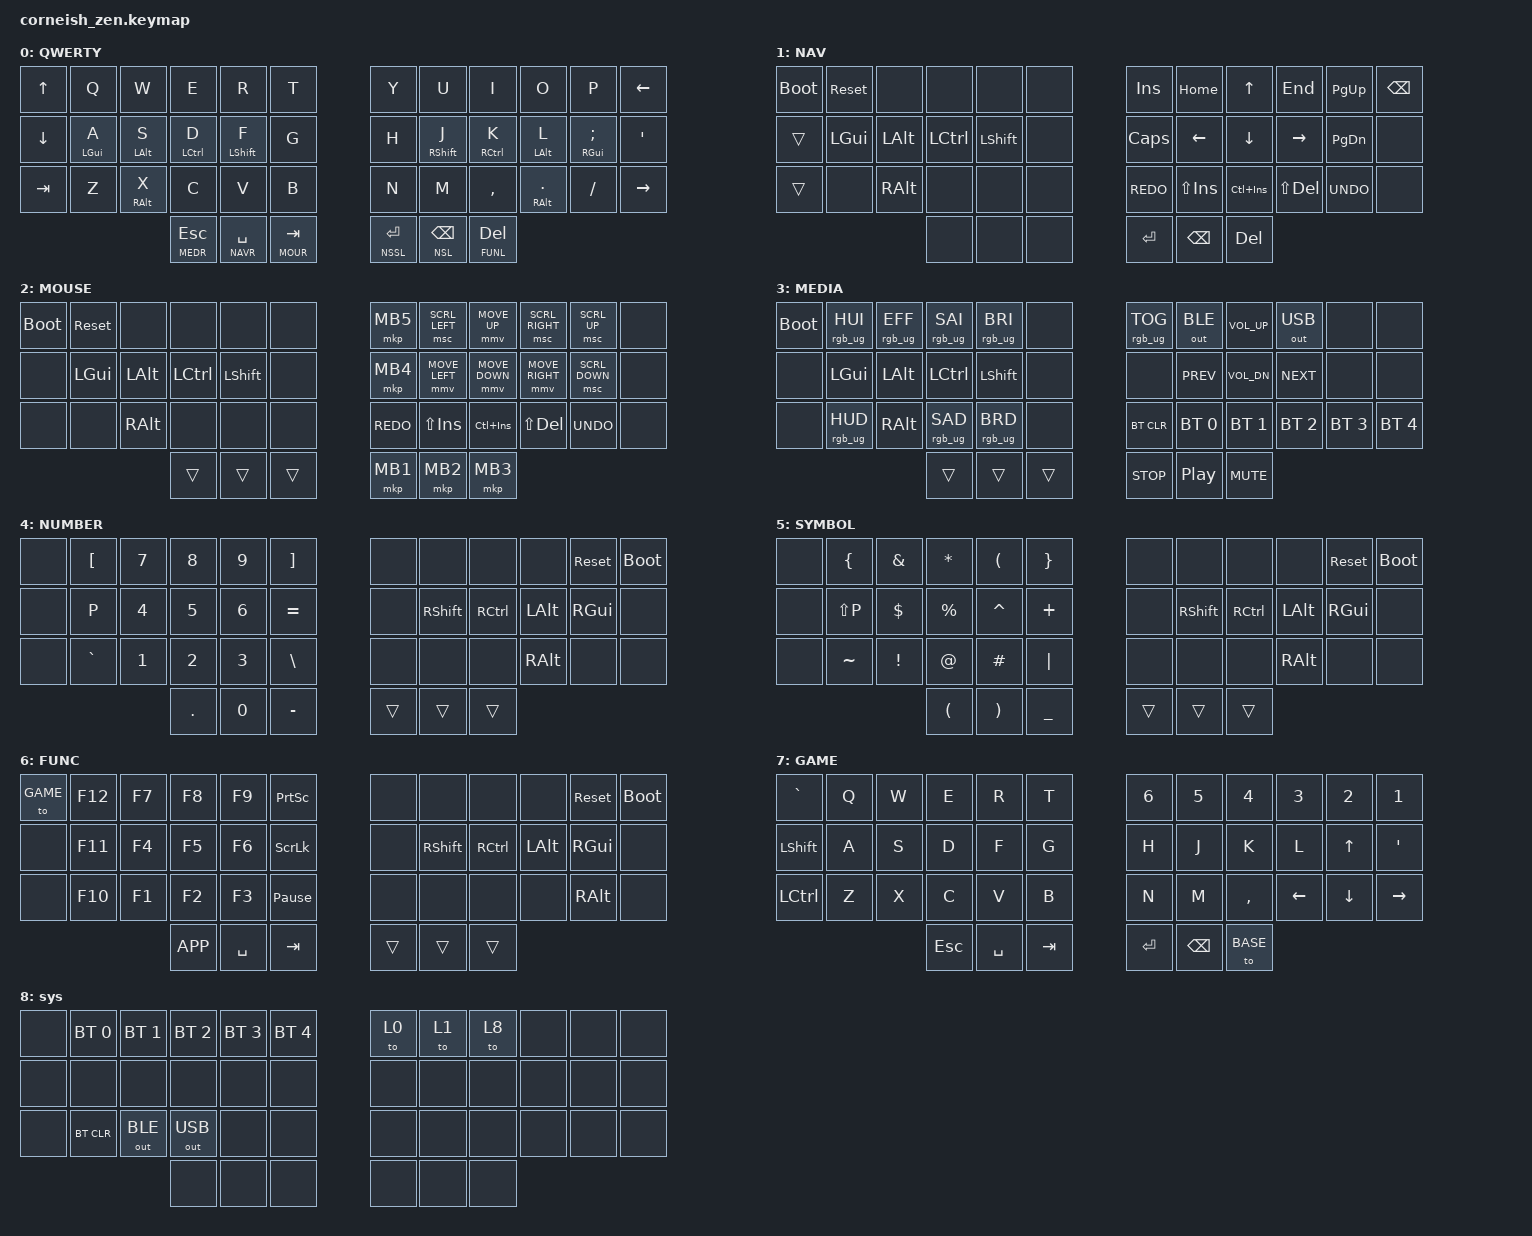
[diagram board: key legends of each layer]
/*
 * Copyright (c) 2020 The ZMK Contributors
 *
 * SPDX-License-Identifier: MIT
 */

#include <behaviors.dtsi>
#include <dt-bindings/zmk/bt.h>
// #include <dt-bindings/zmk/ext_power.h>
#include <dt-bindings/zmk/keys.h>
#include <dt-bindings/zmk/outputs.h>
#include <dt-bindings/zmk/rgb.h>
#include <dt-bindings/zmk/pointing.h>
#define BASE 0
#define NAVR 1
#define MOUR 2
#define MEDR 3
#define NSL 4
#define NSSL 5
#define FUNL 6
#define GAME 7
#define SYS 8

#define XXX &none
#define ___ &trans
/ {
    chosen {
        zmk,matrix_transform = &default_transform;

        // zmk,matrix_transform = &five_column_transform;
    };
};

/ {
    behaviors {
        td0: td0 {
            compatible = "zmk,behavior-tap-dance";
            label = "TD0";
            #binding-cells = <0>;
            bindings = <&kp LEFT_SHIFT>, <&kp CAPS>;
        };
	hm: homerow_mods {
            compatible = "zmk,behavior-hold-tap";
            #binding-cells = <2>;
            tapping-term-ms = <200>;
            quick-tap-ms = <200>;
            flavor = "tap-preferred";
            bindings = <&kp>, <&kp>;
        };
    };

    keymap {
        compatible = "zmk,keymap";

        default_layer {
            display-name = "QWERTY";

            // --------------------------------------------------------------------------------
            // |  TAB |  Q  |  W  |  E  |  R  |  T  |   |  Y  |  U   |  I  |  O  |  P  | BKSP |
            // | CTRL |  A  |  S  |  D  |  F  |  G  |   |  H  |  J   |  K  |  L  |  ;  |  '   | 
            // | SHFT |  Z  |  X  |  C  |  V  |  B  |   |  N  |  M   |  ,  |  .  |  /  | ESC  |
            //                    | GUI | LWR | SPC |   | ENT | RSE  | ALT |

            bindings = <
//╭─────────────┬─────────────┬─────────────┬─────────────┬─────────────┬─────────────╮ ╭─────────────┬─────────────┬─────────────┬─────────────┬─────────────┬─────────────╮
    &kp UP        &kp Q         &kp W         &kp E         &kp R         &kp T           &kp Y         &kp U         &kp I         &kp O         &kp P       &kp LEFT
//├─────────────┼─────────────┼─────────────┼─────────────┼─────────────┼─────────────┤ ├─────────────┼─────────────┼─────────────┼─────────────┼─────────────┼─────────────┤
    &kp DOWN      &hm LGUI A    &hm LALT S    &hm LCTRL D   &hm LSHIFT F  &kp G           &kp H         &hm RSHIFT J  &hm RCTRL K   &hm LALT L    &hm RGUI SEMI &kp SQT
//├─────────────┼─────────────┼─────────────┼─────────────┼─────────────┼─────────────┤ ├─────────────┼─────────────┼─────────────┼─────────────┼─────────────┼─────────────┤
    &kp TAB      &kp Z         &hm RALT X    &kp C         &kp V         &kp B           &kp N         &kp M         &kp COMMA     &hm RALT DOT  &kp FSLH      &kp RIGHT
//╰─────────────┼─────────────┼─────────────┼─────────────┼─────────────┼─────────────┤ ├─────────────┼─────────────┼─────────────┼─────────────┼─────────────┼─────────────╯
                                              &lt MEDR ESC  &lt NAVR SPACE &lt MOUR TAB   &lt NSSL ENTER &lt NSL BSPC &lt FUNL DEL
//                                          ╰─────────────┴─────────────┴─────────────╯ ╰─────────────┴─────────────┴─────────────╯                            
            >;
        };

        navigate {
            display-name = "NAV";

            bindings = <
//╭─────────────┬─────────────┬─────────────┬─────────────┬─────────────┬─────────────╮ ╭─────────────┬─────────────┬─────────────┬─────────────┬─────────────┬─────────────╮
    &bootloader   &sys_reset    XXX           XXX           XXX           XXX             &kp INS       &kp HOME      &kp UP        &kp END       &kp PG_UP     &kp BSPC
//├─────────────┼─────────────┼─────────────┼─────────────┼─────────────┼─────────────┤ ├─────────────┼─────────────┼─────────────┼─────────────┼─────────────┼─────────────┤
    &trans        &kp LGUI      &kp LALT      &kp LCTRL     &kp LSHIFT    XXX             &kp CAPS      &kp LEFT      &kp DOWN      &kp RIGHT     &kp PG_DN     XXX
//├─────────────┼─────────────┼─────────────┼─────────────┼─────────────┼─────────────┤ ├─────────────┼─────────────┼─────────────┼─────────────┼─────────────┼─────────────┤
    &trans        XXX           &kp RALT      XXX           XXX           XXX             &kp K_REDO    &kp LS(INS)   &kp LC(INS)   &kp LS(DEL)   &kp K_UNDO    XXX
//╰─────────────┼─────────────┼─────────────┼─────────────┼─────────────┼─────────────┤ ├─────────────┼─────────────┼─────────────┼─────────────┼─────────────┼─────────────╯
                                              XXX           XXX           XXX             &kp ENTER     &kp BSPC      &kp DEL
//                                          ╰─────────────┴─────────────┴─────────────╯ ╰─────────────┴─────────────┴─────────────╯                            

            >;
        };
        mouse {
            display-name = "MOUSE";
			bindings = <
//╭─────────────┬─────────────┬─────────────┬─────────────┬─────────────┬─────────────╮ ╭─────────────┬──────────────┬──────────────┬───────────────┬─────────────┬─────────────╮
    &bootloader   &sys_reset    XXX           XXX           XXX           XXX             &mkp MB5     &msc SCRL_LEFT &mmv MOVE_UP   &msc SCRL_RIGHT &msc SCRL_UP XXX
//├─────────────┼─────────────┼─────────────┼─────────────┼─────────────┼─────────────┤ ├─────────────┼──────────────┼──────────────┼───────────────┼─────────────┼─────────────┤
    XXX           &kp LGUI      &kp LALT      &kp LCTRL     &kp LSHFT     XXX             &mkp MB4     &mmv MOVE_LEFT &mmv MOVE_DOWN &mmv MOVE_RIGHT &msc SCRL_DOWN XXX     
//├─────────────┼─────────────┼─────────────┼─────────────┼─────────────┼─────────────┤ ├─────────────┼──────────────┼──────────────┼───────────────┼─────────────┼─────────────┤
    XXX           XXX           &kp RALT      XXX           XXX           XXX             &kp K_REDO    &kp  LS(INS)  &kp LC(INS)    &kp LS(DEL)     &kp K_UNDO    XXX         
//╰─────────────┼─────────────┼─────────────┼─────────────┼─────────────┼─────────────┤ ├─────────────┼──────────────┼──────────────┼───────────────┼─────────────┼─────────────╯
                                              ___           ___           ___             &mkp MB1      &mkp MB2       &mkp MB3                                      
//                                          ╰─────────────┴─────────────┴─────────────╯ ╰─────────────┴──────────────┴──────────────╯                            
            >;
        };

        media {
            display-name = "MEDIA";
			bindings = <
//╭─────────────┬─────────────┬─────────────┬─────────────┬─────────────┬─────────────╮ ╭─────────────┬─────────────┬─────────────┬─────────────┬─────────────┬─────────────╮
    &bootloader   &rgb_ug RGB_HUI &rgb_ug RGB_EFF &rgb_ug  RGB_SAI &rgb_ug RGB_BRI XXX    &rgb_ug RGB_TOG &out OUT_BLE &kp C_VOL_UP &out OUT_USB  XXX           XXX          
//├─────────────┼─────────────┼─────────────┼─────────────┼─────────────┼─────────────┤ ├─────────────┼─────────────┼─────────────┼─────────────┼─────────────┼─────────────┤
    XXX           &kp LGUI      &kp LALT      &kp LCTRL     &kp LSHFT     XXX             XXX           &kp C_PREV    &kp C_VOL_DN  &kp C_NEXT    XXX           XXX
//├─────────────┼─────────────┼─────────────┼─────────────┼─────────────┼─────────────┤ ├─────────────┼─────────────┼─────────────┼─────────────┼─────────────┼─────────────┤
    XXX           &rgb_ug RGB_HUD &kp RALT    &rgb_ug  RGB_SAD &rgb_ug RGB_BRD XXX        &bt BT_CLR    &bt BT_SEL 0  &bt BT_SEL 1  &bt BT_SEL 2  &bt BT_SEL 3  &bt BT_SEL 4
//╰─────────────┼─────────────┼─────────────┼─────────────┼─────────────┼─────────────┤ ├─────────────┼─────────────┼─────────────┼─────────────┼─────────────┼─────────────╯
                                              ___           ___           ___             &kp C_STOP    &kp C_PP      &kp C_MUTE                                               
//                                          ╰─────────────┴─────────────┴─────────────╯ ╰─────────────┴─────────────┴─────────────╯                            
            >;
        };

        num {
            display-name = "NUMBER";
			bindings = <
//╭─────────────┬─────────────┬─────────────┬─────────────┬─────────────┬─────────────╮ ╭─────────────┬─────────────┬─────────────┬─────────────┬─────────────┬─────────────╮
    XXX           &kp LBKT      &kp N7        &kp N8        &kp N9        &kp RBKT        XXX           XXX           XXX           XXX           &sys_reset    &bootloader
//├─────────────┼─────────────┼─────────────┼─────────────┼─────────────┼─────────────┤ ├─────────────┼─────────────┼─────────────┼─────────────┼─────────────┼─────────────┤
    XXX           &kp P         &kp N4        &kp N5        &kp N6        &kp EQUAL       XXX           &kp RSHFT     &kp RCTRL     &kp LALT      &kp RGUI      XXX     
//├─────────────┼─────────────┼─────────────┼─────────────┼─────────────┼─────────────┤ ├─────────────┼─────────────┼─────────────┼─────────────┼─────────────┼─────────────┤
    XXX           &kp GRAVE     &kp N1        &kp N2        &kp N3        &kp BSLH        XXX           XXX           XXX           &kp RALT      XXX           XXX
//╰─────────────┼─────────────┼─────────────┼─────────────┼─────────────┼─────────────┤ ├─────────────┼─────────────┼─────────────┼─────────────┼─────────────┼─────────────╯
                                              &kp DOT       &kp N0        &kp MINUS       ___           ___           ___
//                                          ╰─────────────┴─────────────┴─────────────╯ ╰─────────────┴─────────────┴─────────────╯                            
            >;
        };

        sym {
            display-name = "SYMBOL";
			bindings = <
//╭─────────────┬─────────────┬─────────────┬─────────────┬─────────────┬─────────────╮ ╭─────────────┬─────────────┬─────────────┬─────────────┬─────────────┬─────────────╮
    XXX           &kp LBRC      &kp AMPS      &kp ASTRK     &kp LPAR      &kp RBRC        XXX           XXX           XXX           XXX           &sys_reset    &bootloader
//├─────────────┼─────────────┼─────────────┼─────────────┼─────────────┼─────────────┤ ├─────────────┼─────────────┼─────────────┼─────────────┼─────────────┼─────────────┤
    XXX           &kp LS(P)     &kp DLLR      &kp PRCNT     &kp CARET     &kp PLUS        XXX           &kp RSHFT     &kp RCTRL     &kp LALT      &kp RGUI      XXX     
//├─────────────┼─────────────┼─────────────┼─────────────┼─────────────┼─────────────┤ ├─────────────┼─────────────┼─────────────┼─────────────┼─────────────┼─────────────┤
    XXX           &kp TILDE     &kp EXCL      &kp AT        &kp HASH      &kp PIPE        XXX           XXX           XXX           &kp RALT      XXX           XXX
//╰─────────────┼─────────────┼─────────────┼─────────────┼─────────────┼─────────────┤ ├─────────────┼─────────────┼─────────────┼─────────────┼─────────────┼─────────────╯
                                              &kp LPAR      &kp RPAR       &kp UNDER      ___           ___           ___
//                                          ╰─────────────┴─────────────┴─────────────╯ ╰─────────────┴─────────────┴─────────────╯                            
            >;
        };

        fn {
            display-name = "FUNC";
			bindings = <
//╭─────────────┬─────────────┬─────────────┬─────────────┬─────────────┬─────────────╮ ╭─────────────┬─────────────┬─────────────┬─────────────┬─────────────┬─────────────╮
    &to GAME      &kp F12       &kp F7        &kp F8        &kp F9        &kp PSCRN       XXX           XXX           XXX           XXX           &sys_reset    &bootloader
//├─────────────┼─────────────┼─────────────┼─────────────┼─────────────┼─────────────┤ ├─────────────┼─────────────┼─────────────┼─────────────┼─────────────┼─────────────┤
    XXX           &kp F11       &kp F4        &kp F5        &kp F6        &kp SLCK        XXX           &kp RSHFT     &kp RCTRL     &kp LALT      &kp RGUI      XXX     
//├─────────────┼─────────────┼─────────────┼─────────────┼─────────────┼─────────────┤ ├─────────────┼─────────────┼─────────────┼─────────────┼─────────────┼─────────────┤
    XXX           &kp F10       &kp F1        &kp F2        &kp F3        &kp PAUSE_BREAK XXX           XXX           XXX           XXX           &kp RALT      XXX
//╰─────────────┼─────────────┼─────────────┼─────────────┼─────────────┼─────────────┤ ├─────────────┼─────────────┼─────────────┼─────────────┼─────────────┼─────────────╯
                                              &kp K_APP     &kp SPACE     &kp TAB         ___           ___           ___
//                                          ╰─────────────┴─────────────┴─────────────╯ ╰─────────────┴─────────────┴─────────────╯                            
            >;
        };

        game {
            display-name = "GAME";
			bindings = <
//╭─────────────┬─────────────┬─────────────┬─────────────┬─────────────┬─────────────╮ ╭─────────────┬─────────────┬─────────────┬─────────────┬─────────────┬─────────────╮
    &kp GRAVE     &kp Q         &kp W         &kp E         &kp R         &kp T           &kp N6        &kp N5        &kp N4        &kp N3        &kp N2        &kp N1
//├─────────────┼─────────────┼─────────────┼─────────────┼─────────────┼─────────────┤ ├─────────────┼─────────────┼─────────────┼─────────────┼─────────────┼─────────────┤
    &kp LSHIFT    &kp A         &kp S         &kp D         &kp F         &kp G           &kp H         &kp J         &kp K         &kp L         &kp UP      &kp SQT
//├─────────────┼─────────────┼─────────────┼─────────────┼─────────────┼─────────────┤ ├─────────────┼─────────────┼─────────────┼─────────────┼─────────────┼─────────────┤
    &kp LCTL      &kp Z         &kp X         &kp C         &kp V         &kp B           &kp N         &kp M         &kp COMMA     &kp LEFT       &kp DOWN      &kp RIGHT
//╰─────────────┼─────────────┼─────────────┼─────────────┼─────────────┼─────────────┤ ├─────────────┼─────────────┼─────────────┼─────────────┼─────────────┼─────────────╯
                                              &kp ESC       &kp SPACE     &kp TAB         &kp RET       &kp BSPC      &to BASE                            
//                                          ╰─────────────┴─────────────┴─────────────╯ ╰─────────────┴─────────────┴─────────────╯                            
            >;
        };

        sys {
			bindings = <
//╭─────────────┬─────────────┬─────────────┬─────────────┬─────────────┬─────────────╮ ╭─────────────┬─────────────┬─────────────┬─────────────┬─────────────┬─────────────╮
    XXX           &bt BT_SEL 0  &bt BT_SEL 1  &bt BT_SEL 2  &bt BT_SEL 3  &bt BT_SEL 4    &to 0         &to 1         &to 8         XXX           XXX           XXX
//├─────────────┼─────────────┼─────────────┼─────────────┼─────────────┼─────────────┤ ├─────────────┼─────────────┼─────────────┼─────────────┼─────────────┼─────────────┤
    XXX           XXX           XXX           XXX           XXX           XXX             XXX           XXX           XXX           XXX           XXX           XXX
//├─────────────┼─────────────┼─────────────┼─────────────┼─────────────┼─────────────┤ ├─────────────┼─────────────┼─────────────┼─────────────┼─────────────┼─────────────┤
    XXX           &bt BT_CLR    &out OUT_BLE  &out OUT_USB  XXX           XXX             XXX           XXX           XXX           XXX           XXX           XXX
//╰─────────────┼─────────────┼─────────────┼─────────────┼─────────────┼─────────────┤ ├─────────────┼─────────────┼─────────────┼─────────────┼─────────────┼─────────────╯
                                              XXX           XXX           XXX             XXX           XXX           XXX                                      
//                                          ╰─────────────┴─────────────┴─────────────╯ ╰─────────────┴─────────────┴─────────────╯                            
            >;
        };
     };
};
